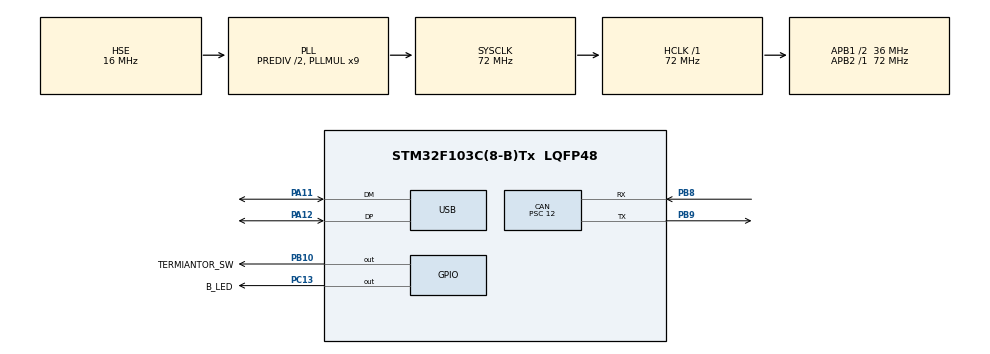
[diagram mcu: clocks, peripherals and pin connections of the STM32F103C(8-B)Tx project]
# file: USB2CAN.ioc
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CAN.BS1=CAN_BS1_2TQ
CAN.BS2=CAN_BS2_3TQ
CAN.CalculateBaudRate=499999
CAN.CalculateTimeBit=2000
CAN.CalculateTimeQuantum=333.33333333333337
CAN.Mode=CAN_MODE_LOOPBACK
CAN.Prescaler=12
Mcu.Family=STM32F1
Mcu.Name=STM32F103C(8-B)Tx
Mcu.Package=LQFP48
NVIC.PriorityGroup=NVIC_PRIORITYGROUP_4
NVIC.USB_LP_CAN1_RX0_IRQn=true\:0\:0\:false\:false\:true\:false\:true\:true
PA11.Mode=Device
PA11.Signal=USB_DM
PA12.Mode=Device
PA12.Signal=USB_DP
PB10.GPIO_Label=TERMIANTOR_SW
PB10.Signal=GPIO_Output
PB8.Mode=CAN_Activate
PB8.Signal=CAN_RX
PB9.Mode=CAN_Activate
PB9.Signal=CAN_TX
PC13-TAMPER-RTC.GPIO_Label=B_LED
PC13-TAMPER-RTC.Signal=GPIO_Output
PC14-OSC32_IN.Mode=LSE-External-Oscillator
PC14-OSC32_IN.Signal=RCC_OSC32_IN
PC15-OSC32_OUT.Mode=LSE-External-Oscillator
PC15-OSC32_OUT.Signal=RCC_OSC32_OUT
PD0-OSC_IN.Mode=HSE-External-Oscillator
PD0-OSC_IN.Signal=RCC_OSC_IN
PD1-OSC_OUT.Mode=HSE-External-Oscillator
PD1-OSC_OUT.Signal=RCC_OSC_OUT
ProjectManager.HeapSize=0x1000
ProjectManager.StackSize=0x400
ProjectManager.TargetToolchain=STM32CubeIDE
RCC.AHBFreq_Value=72000000
RCC.APB1CLKDivider=RCC_HCLK_DIV2
RCC.APB1Freq_Value=36000000
RCC.APB1TimFreq_Value=72000000
RCC.APB2Freq_Value=72000000
RCC.APB2TimFreq_Value=72000000
RCC.HCLKFreq_Value=72000000
RCC.HSEDivPLL=RCC_HSE_PREDIV_DIV2
RCC.HSE_VALUE=16000000
RCC.PLLMUL=RCC_PLL_MUL9
RCC.SYSCLKFreq_VALUE=72000000
RCC.SYSCLKSource=RCC_SYSCLKSOURCE_PLLCLK
RCC.USBFreq_Value=48000000
RCC.USBPrescaler=RCC_USBCLKSOURCE_PLL_DIV1_5
USB_DEVICE.APP_RX_DATA_SIZE=64
USB_DEVICE.APP_TX_DATA_SIZE=64
USB_DEVICE.CLASS_NAME_FS=CDC
USB_DEVICE.MANUFACTURER_STRING=rcp444
USB_DEVICE.PID_CDC_FS=105
USB_DEVICE.PRODUCT_STRING_CDC_FS=USB2CAN
USB_DEVICE.VID=8503
USB_DEVICE.VirtualMode=Cdc
USB_DEVICE.VirtualModeFS=Cdc_FS
VP_USB_DEVICE_VS_USB_DEVICE_CDC_FS.Mode=CDC_FS
board=custom

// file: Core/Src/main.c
/* USER CODE BEGIN Header */
/**
  ******************************************************************************
  * @file           : main.c
  * @brief          : Main program body
  ******************************************************************************
  * @attention
  *
  * Copyright (c) 2023 STMicroelectronics.
  * All rights reserved.
  *
  * This software is licensed under terms that can be found in the LICENSE file
  * in the root directory of this software component.
  * If no LICENSE file comes with this software, it is provided AS-IS.
  *
  ******************************************************************************
  */
/* USER CODE END Header */
#include "main.h"
#include "usb_device.h"

/* USER CODE BEGIN Includes */
#include "usbd_cdc_if.h"
#include "usb_transfer.h"
/* USER CODE END Includes */

CAN_HandleTypeDef hcan;

/* USER CODE BEGIN PV */
uint8_t USB_ReceiveData[40];
uint8_t USB_ReceiveDataFlag;
/* USER CODE END PV */

void SystemClock_Config(void);
static void MX_GPIO_Init(void);
static void MX_CAN_Init(void);
/* USER CODE BEGIN PFP */
void InfoLedBlink(uint8_t times, int delay)
{
    for(int i = 0; i < times; i++)
    {
        HAL_GPIO_TogglePin(B_LED_GPIO_Port, B_LED_Pin);
        HAL_Delay(delay);
    }
}
/* USER CODE END PFP */

int main(void)
{

  /* MCU Configuration--------------------------------------------------------*/

  /* Reset of all peripherals, Initializes the Flash interface and the Systick. */
  HAL_Init();

  /* Configure the system clock */
  SystemClock_Config();

  /* Initialize all configured peripherals */
  MX_GPIO_Init();
  MX_USB_DEVICE_Init();
  MX_CAN_Init();
  /* USER CODE BEGIN 2 */
  HAL_CAN_Start(&hcan);

  /* USER CODE END 2 */

  /* Infinite loop */
  while (1)
  {

    /* USER CODE BEGIN 3 */

    //HAL_Delay(500);
    if(USB_ReceiveDataFlag == 1)
    {
        USB_ReceiveDataFlag = 0;
        USB_Data dataFrame;
        memcpy(&dataFrame, USB_ReceiveData, sizeof(dataFrame));

        switch(dataFrame.cmd)
        {
            case USB_CMD_START_MON:
                InfoLedBlink(3, 100);
                break;

            case USB_CMD_STOP_MON:
                InfoLedBlink(3, 500);
                break;

            case USB_CMD_CAN_FRAME:
                InfoLedBlink(5, 100);
                break;

            case USB_CMD_HANDSHAKE:
                InfoLedBlink(10, 100);
                break;

        }

        uint8_t usb_data[32];
        for(int i=0; i < 32; i++)
        {
            usb_data[i] = (i % 2) ? 0x66 : 0x69;
        }

        USB_FuncTransfer(USB_CMD_HELLO, usb_data, 16);

    }

  }
  /* USER CODE END 3 */
}

void SystemClock_Config(void)
{
  RCC_OscInitTypeDef RCC_OscInitStruct = {0};
  RCC_ClkInitTypeDef RCC_ClkInitStruct = {0};
  RCC_PeriphCLKInitTypeDef PeriphClkInit = {0};

  /** Initializes the RCC Oscillators according to the specified parameters
  * in the RCC_OscInitTypeDef structure.
  */
  RCC_OscInitStruct.OscillatorType = RCC_OSCILLATORTYPE_HSE;
  RCC_OscInitStruct.HSEState = RCC_HSE_ON;
  RCC_OscInitStruct.HSEPredivValue = RCC_HSE_PREDIV_DIV2;
  RCC_OscInitStruct.HSIState = RCC_HSI_ON;
  RCC_OscInitStruct.PLL.PLLState = RCC_PLL_ON;
  RCC_OscInitStruct.PLL.PLLSource = RCC_PLLSOURCE_HSE;
  RCC_OscInitStruct.PLL.PLLMUL = RCC_PLL_MUL9;
  if (HAL_RCC_OscConfig(&RCC_OscInitStruct) != HAL_OK)
  {
    Error_Handler();
  }

  /** Initializes the CPU, AHB and APB buses clocks
  */
  RCC_ClkInitStruct.ClockType = RCC_CLOCKTYPE_HCLK|RCC_CLOCKTYPE_SYSCLK
                              |RCC_CLOCKTYPE_PCLK1|RCC_CLOCKTYPE_PCLK2;
  RCC_ClkInitStruct.SYSCLKSource = RCC_SYSCLKSOURCE_PLLCLK;
  RCC_ClkInitStruct.AHBCLKDivider = RCC_SYSCLK_DIV1;
  RCC_ClkInitStruct.APB1CLKDivider = RCC_HCLK_DIV2;
  RCC_ClkInitStruct.APB2CLKDivider = RCC_HCLK_DIV1;

  if (HAL_RCC_ClockConfig(&RCC_ClkInitStruct, FLASH_LATENCY_2) != HAL_OK)
  {
    Error_Handler();
  }
  PeriphClkInit.PeriphClockSelection = RCC_PERIPHCLK_USB;
  PeriphClkInit.UsbClockSelection = RCC_USBCLKSOURCE_PLL_DIV1_5;
  if (HAL_RCCEx_PeriphCLKConfig(&PeriphClkInit) != HAL_OK)
  {
    Error_Handler();
  }
}

static void MX_CAN_Init(void)
{

  hcan.Instance = CAN1;
  hcan.Init.Prescaler = 12;
  hcan.Init.Mode = CAN_MODE_LOOPBACK;
  hcan.Init.SyncJumpWidth = CAN_SJW_1TQ;
  hcan.Init.TimeSeg1 = CAN_BS1_2TQ;
  hcan.Init.TimeSeg2 = CAN_BS2_3TQ;
  hcan.Init.TimeTriggeredMode = DISABLE;
  hcan.Init.AutoBusOff = DISABLE;
  hcan.Init.AutoWakeUp = DISABLE;
  hcan.Init.AutoRetransmission = DISABLE;
  hcan.Init.ReceiveFifoLocked = DISABLE;
  hcan.Init.TransmitFifoPriority = DISABLE;
  if (HAL_CAN_Init(&hcan) != HAL_OK)
  {
    Error_Handler();
  }

}

static void MX_GPIO_Init(void)
{
  GPIO_InitTypeDef GPIO_InitStruct = {0};

  /* GPIO Ports Clock Enable */
  __HAL_RCC_GPIOC_CLK_ENABLE();
  __HAL_RCC_GPIOD_CLK_ENABLE();
  __HAL_RCC_GPIOB_CLK_ENABLE();
  __HAL_RCC_GPIOA_CLK_ENABLE();

  /*Configure GPIO pin Output Level */
  HAL_GPIO_WritePin(B_LED_GPIO_Port, B_LED_Pin, GPIO_PIN_RESET);

  /*Configure GPIO pin Output Level */
  HAL_GPIO_WritePin(TERMIANTOR_SW_GPIO_Port, TERMIANTOR_SW_Pin, GPIO_PIN_RESET);

  /*Configure GPIO pin : B_LED_Pin */
  GPIO_InitStruct.Pin = B_LED_Pin;
  GPIO_InitStruct.Mode = GPIO_MODE_OUTPUT_PP;
  GPIO_InitStruct.Pull = GPIO_NOPULL;
  GPIO_InitStruct.Speed = GPIO_SPEED_FREQ_LOW;
  HAL_GPIO_Init(B_LED_GPIO_Port, &GPIO_InitStruct);

  /*Configure GPIO pin : TERMIANTOR_SW_Pin */
  GPIO_InitStruct.Pin = TERMIANTOR_SW_Pin;
  GPIO_InitStruct.Mode = GPIO_MODE_OUTPUT_PP;
  GPIO_InitStruct.Pull = GPIO_NOPULL;
  GPIO_InitStruct.Speed = GPIO_SPEED_FREQ_LOW;
  HAL_GPIO_Init(TERMIANTOR_SW_GPIO_Port, &GPIO_InitStruct);

}

void Error_Handler(void)
{
  __disable_irq();
  while (1)
  {
  }
}
